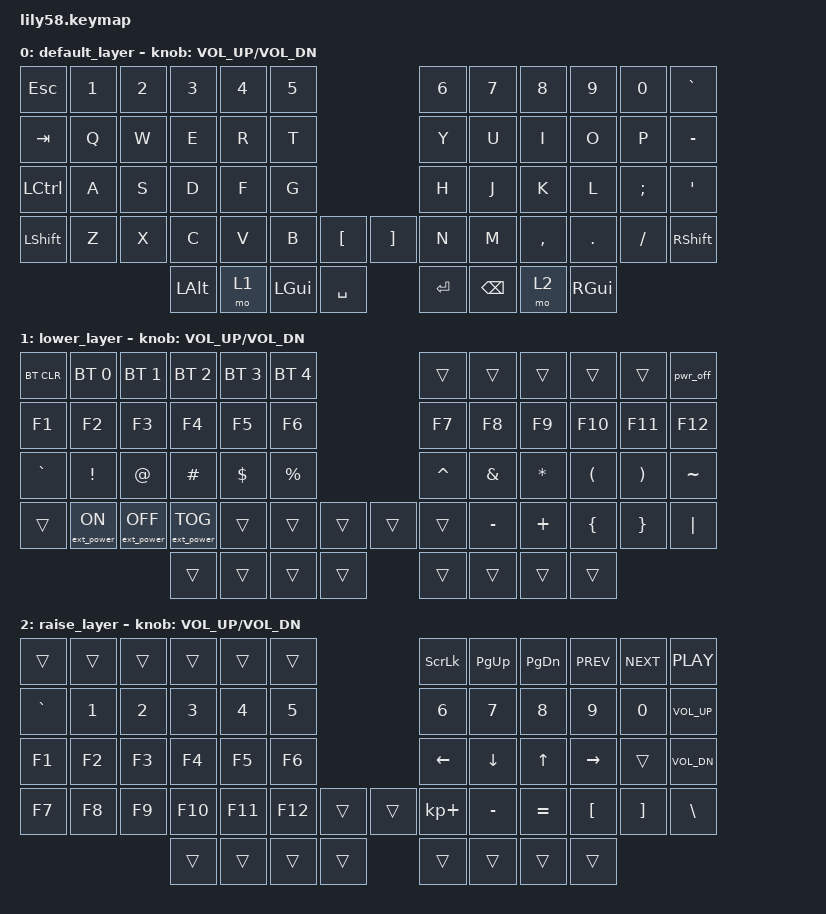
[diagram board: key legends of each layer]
/*
 * Copyright (c) 2020 The ZMK Contributors
 *
 * SPDX-License-Identifier: MIT
 */

#include <behaviors.dtsi>
#include <dt-bindings/zmk/keys.h>
#include <dt-bindings/zmk/bt.h>
#include <dt-bindings/zmk/ext_power.h>

/ {
    behaviors {
        // Hold for 2s, then release, to put both halves into System OFF.
        // Wake up by pressing the reset button on each half.
        // Node name must be <= 8 chars: it is sent to the right half over BLE
        // and longer names get truncated, so the peripheral can't find it.
        pwr_off: pwr_off {
            compatible = "zmk,behavior-soft-off";
            #binding-cells = <0>;
            split-peripheral-off-on-press;
            hold-time-ms = <2000>;
        };
    };

    keymap {
        compatible = "zmk,keymap";

        default_layer {
// ------------------------------------------------------------------------------------------------------------
// |  ESC  |  1  |  2  |  3   |  4   |  5   |                   |  6   |  7    |  8    |  9   |   0   |   `   |
// |  TAB  |  Q  |  W  |  E   |  R   |  T   |                   |  Y   |  U    |  I    |  O   |   P   |   -   |
// |  CTRL |  A  |  S  |  D   |  F   |  G   |                   |  H   |  J    |  K    |  L   |   ;   |   '   |
// | SHIFT |  Z  |  X  |  C   |  V   |  B   |   "["  |  |  "]"  |  N   |  M    |  ,    |  .   |   /   | SHIFT |
//                     | ALT  | LOWER | GUI |  SPACE |  | ENTER | BSPC | RAISE | GUI   |
            bindings = <
&kp ESC   &kp N1 &kp N2 &kp N3   &kp N4   &kp N5                     &kp N6 &kp N7   &kp N8    &kp N9  &kp N0   &kp GRAVE
&kp TAB   &kp Q  &kp W  &kp E    &kp R    &kp T                      &kp Y  &kp U    &kp I     &kp O   &kp P    &kp MINUS
&kp LCTRL &kp A  &kp S  &kp D    &kp F    &kp G                      &kp H  &kp J    &kp K     &kp L   &kp SEMI &kp SQT
&kp LSHFT &kp Z  &kp X  &kp C    &kp V    &kp B  &kp LBKT   &kp RBKT &kp N  &kp M    &kp COMMA &kp DOT &kp FSLH &kp RSHFT
                        &kp LALT &mo 1    &kp LGUI   &kp SPACE  &kp RET &kp BSPC  &mo 2 &kp RGUI
            >;

            sensor-bindings = <&inc_dec_kp C_VOL_UP C_VOL_DN>;
        };

        lower_layer {
// ------------------------------------------------------------------------------------------------------------
// | BTCLR | BT1 | BT2 |  BT3 |  BT4 |  BT5 |                   |      |       |       |      |       |  OFF  |
// |  F1   |  F2 |  F3 |  F4  |  F5  |  F6  |                   |  F7  |  F8   |  F9   |  F10 |  F11  |  F12  |
// |   `   |  !  |  @  |  #   |  $   |  %   |                   |  ^   |  &    |  *    |  (   |   )   |   ~   |
// |       |     |     |      |      |      |        |  |       |      |  _    |  +    |  {   |   }   |  "|"  |
//                     |      |      |      |        |  |       |      |       |       |
            bindings = <
&bt BT_CLR &bt BT_SEL 0     &bt BT_SEL 1      &bt BT_SEL 2      &bt BT_SEL 3 &bt BT_SEL 4                 &trans    &trans    &trans    &trans    &trans    &pwr_off
&kp F1    &kp F2           &kp F3            &kp F4            &kp F5       &kp F6                       &kp F7    &kp F8    &kp F9    &kp F10   &kp F11   &kp F12
&kp GRAVE  &kp EXCL         &kp AT            &kp HASH          &kp DOLLAR   &kp PRCNT                    &kp CARET &kp AMPS  &kp ASTRK &kp LPAR  &kp RPAR  &kp TILDE 
&trans     &ext_power EP_ON &ext_power EP_OFF &ext_power EP_TOG &trans       &trans    &trans   &trans    &trans    &kp MINUS &kp PLUS  &kp LBRC  &kp RBRC  &kp PIPE
                                              &trans            &trans       &trans    &trans   &trans    &trans    &trans    &trans
            >;

            sensor-bindings = <&inc_dec_kp C_VOL_UP C_VOL_DN>;
        };

        raise_layer {
// ------------------------------------------------------------------------------------------------------------
// |       |     |     |      |      |      |                   |      |       |       |      |       |       |
// |   `   |  1  |  2  |  3   |  4   |  5   |                   |  6   |   7   |   8   |  9   |   0   |       |
// |   F1  |  F2 |  F3 |  F4  |  F5  |  F6  |                   |      |   <-  |   v   |  ^   |  ->   |       |
// |   F7  |  F8 |  F9 |  F10 |  F11 |  F12 |        |  |       |  +   |   -   |   =   |  [   |   ]   |   \   |
//                     |      |      |      |        |  |       |      |       |       |
            bindings = <
&trans    &trans &trans &trans  &trans  &trans                       &kp SCROLLLOCK &kp PG_UP &kp PG_DN &kp C_PREV &kp C_NEXT    &kp C_PLAY
&kp GRAVE &kp N1 &kp N2 &kp N3  &kp N4  &kp N5                       &kp N6      &kp N7    &kp N8    &kp N9   &kp N0    &kp C_VOL_UP
&kp F1    &kp F2 &kp F3 &kp F4  &kp F5  &kp F6                       &kp LEFT    &kp DOWN  &kp UP    &kp RIGHT &trans &kp C_VOL_DN
&kp F7    &kp F8 &kp F9 &kp F10 &kp F11 &kp F12   &trans   &trans    &kp KP_PLUS &kp MINUS &kp EQUAL &kp LBKT &kp RBKT  &kp BSLH
                        &trans  &trans  &trans    &trans   &trans    &trans      &trans    &trans
            >;

            sensor-bindings = <&inc_dec_kp C_VOL_UP C_VOL_DN>;
        };
    };
};
